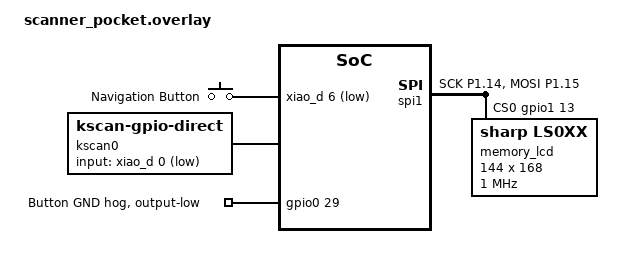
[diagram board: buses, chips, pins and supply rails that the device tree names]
/*
 * Copyright (c) 2026 The ZMK Contributors
 * SPDX-License-Identifier: MIT
 *
 * Scanner Pocket - Sharp Memory LCD (LS013B7DH05)
 * SPI connection to Seeed XIAO nRF52840
 *
 * Current test wiring (temporary debug setup):
 *   D8  (P1.13) = CS
 *   D9  (P1.14) = SCLK
 *   D10 (P1.15) = SI (MOSI)
 *
 * XIAO nRF52840 Pin Mapping Reference:
 *   D0 = P0.02    D6 = P1.11
 *   D1 = P0.03    D7 = P1.12
 *   D2 = P0.28    D8 = P1.13
 *   D3 = P0.29    D9 = P1.14
 *   D4 = P0.04    D10= P1.15
 *   D5 = P0.05
 */

#include <dt-bindings/zmk/matrix_transform.h>
#include <physical_layouts.dtsi>

/ {
    chosen {
        zmk,kscan = &kscan0;
        zmk,physical-layout = &default_layout;
        zephyr,display = &memory_lcd;
    };

    default_layout: default_layout {
        compatible = "zmk,physical-layout";
        display-name = "Scanner Pocket Layout";
        transform = <&default_transform>;

        keys
            = <&key_physical_attrs 100 100    0    0      0     0     0>
            ;
    };

    default_transform: keymap_transform_0 {
        compatible = "zmk,matrix-transform";
        columns = <1>;
        rows = <1>;
        map = <RC(0,0)>;
    };

    /* Navigation button: D3 (GND) + D6 (Input)
     * Press button to toggle between Main and Keyboard List screens
     */
    gpio_keys {
        compatible = "gpio-keys";
        nav_button: nav_button {
            gpios = <&xiao_d 6 (GPIO_ACTIVE_LOW | GPIO_PULL_UP)>;
            label = "Navigation Button";
        };
    };

    /* Dummy kscan - Scanner Pocket is display-only device */
    kscan0: kscan {
        compatible = "zmk,kscan-gpio-direct";
        wakeup-source;
        input-gpios = <&xiao_d 0 (GPIO_ACTIVE_LOW | GPIO_PULL_UP)>;
    };
};

/* D3 as GND output for button */
&gpio0 {
    status = "okay";
    button_gnd: button_gnd {
        gpio-hog;
        gpios = <29 GPIO_ACTIVE_HIGH>;  /* D3 = P0.29 */
        output-low;
        line-name = "Button GND";
    };
};

/* Disable default SPI to avoid conflicts */
&spi2 {
    status = "disabled";
};

/* SPI pin configuration for Sharp Memory LCD */
&pinctrl {
    spi1_default: spi1_default {
        group1 {
            psels = <NRF_PSEL(SPIM_SCK, 1, 14)>,   /* D9 = P1.14 = SCLK */
                    <NRF_PSEL(SPIM_MOSI, 1, 15)>;  /* D10 = P1.15 = SI (MOSI) */
        };
    };

    spi1_sleep: spi1_sleep {
        group1 {
            psels = <NRF_PSEL(SPIM_SCK, 1, 14)>,
                    <NRF_PSEL(SPIM_MOSI, 1, 15)>;
            low-power-enable;
        };
    };
};

/* SPI1 configuration for Sharp Memory LCD */
&spi1 {
    status = "okay";
    compatible = "nordic,nrf-spim";
    pinctrl-0 = <&spi1_default>;
    pinctrl-1 = <&spi1_sleep>;
    pinctrl-names = "default", "sleep";
    cs-gpios = <&gpio1 13 GPIO_ACTIVE_HIGH>;  /* D8 = P1.13 = CS (Active HIGH!) */

    memory_lcd: ls0xx@0 {
        compatible = "sharp,ls0xx";
        reg = <0>;
        spi-max-frequency = <1000000>;  /* 1MHz - safe for Memory LCD */
        width = <144>;
        height = <168>;
    };
};
